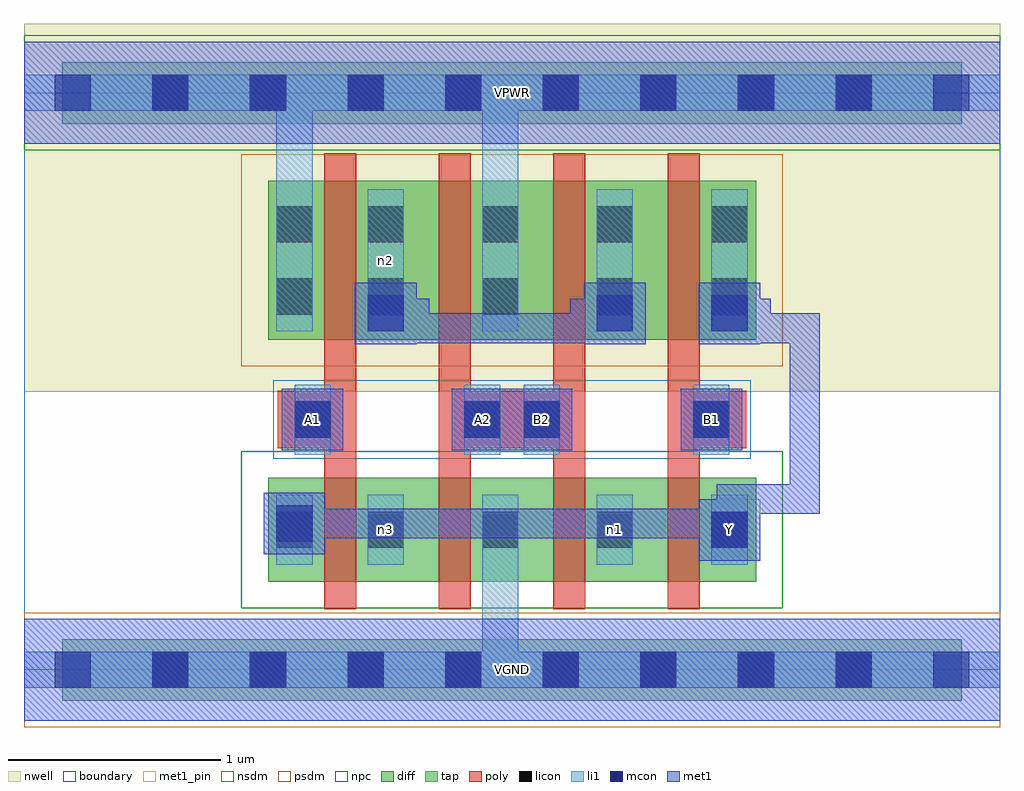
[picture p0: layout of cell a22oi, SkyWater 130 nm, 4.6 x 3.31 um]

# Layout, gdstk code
import gdstk
lib = gdstk.Library(unit=1e-6, precision=1e-09)
def R(c, l, rs):  # rectangles x0, y0, x1, y1
    for r in rs: c.add(gdstk.rectangle(r[:2], r[2:], *l))
def A(c, l, x, y, w, h, nx, ny, dx, dy):  # array of equal rectangles
    R(c, l, [(x+i*dx, y+j*dy, x+i*dx+w, y+j*dy+h) for i in range(nx) for j in range(ny)])
nwell = (64, 20)
diff = (65, 20)
tap = (65, 44)
poly = (66, 20)
licon = (66, 44)
li1 = (67, 20)
mcon = (67, 44)
met1_pin = (68, 16)
met1 = (68, 20)
nsdm = (93, 44)
psdm = (94, 20)
npc = (95, 20)
boundary = (235, 4)

a22oi = lib.new_cell('a22oi')
R(a22oi, nwell, [(0,1.31,4.6,3.045)])
R(a22oi, diff, [(1.15,0.415,3.45,0.905), (1.15,1.555,3.45,2.305)])
R(a22oi, tap, [(0.18,-0.145,4.42,0.145), (0.18,2.575,4.42,2.865)])
A(a22oi, poly, 1.415, 0.285, 0.15, 2.15, 4, 1, 0.54, 0)
R(a22oi, poly, [(1.195,1.045,1.525,1.315), (1.995,1.045,2.325,1.315), (2.275,1.045,2.605,1.315), (3.075,1.045,3.405,1.315)])
A(a22oi, licon, 0.605, -0.085, 0.17, 0.17, 8, 2, 0.46, 2.72)
A(a22oi, licon, 1.62, 0.575, 0.17, 0.17, 4, 2, 0.54, 1.1)
A(a22oi, licon, 1.62, 2.015, 0.17, 0.17, 4, 1, 0.54, 0)
R(a22oi, licon, [(1.19,0.575,1.36,0.745), (1.275,1.095,1.445,1.265), (2.075,1.095,2.245,1.265), (2.355,1.095,2.525,1.265), (3.155,1.095,3.325,1.265), (1.19,1.675,1.36,1.845), (1.19,2.015,1.36,2.185)])
A(a22oi, li1, 1.62, 0.495, 0.17, 0.33, 4, 1, 0.54, 0)
A(a22oi, li1, 1.62, 1.595, 0.17, 0.67, 4, 1, 0.54, 0)
R(a22oi, li1, [(0,-0.085,4.6,0.085), (2.16,-0.085,2.33,0.825), (1.19,0.495,1.36,0.825), (1.275,1.015,1.445,1.345), (2.075,1.015,2.245,1.345), (2.355,1.015,2.525,1.345), (3.155,1.015,3.325,1.345), (1.19,1.595,1.36,2.265), (1.19,1.595,1.36,2.805), (2.16,1.595,2.33,2.805), (0,2.635,4.6,2.805)])
A(a22oi, mcon, 0.145, -0.085, 0.17, 0.17, 10, 2, 0.46, 2.72)
R(a22oi, mcon, [(3.24,0.575,3.41,0.745), (1.19,0.605,1.36,0.775), (1.275,1.095,1.445,1.265), (2.075,1.095,2.245,1.265), (2.355,1.095,2.525,1.265), (3.155,1.095,3.325,1.265), (1.62,1.595,1.79,1.765), (2.7,1.595,2.87,1.765), (3.24,1.595,3.41,1.765)])
R(a22oi, met1_pin, [(0,-0.24,4.6,0.24), (3.18,0.515,3.47,0.805), (1.215,1.035,1.505,1.325), (2.015,1.035,2.305,1.325), (2.295,1.035,2.585,1.325), (3.095,1.035,3.385,1.325), (0,2.48,4.6,2.96)])
A(a22oi, met1, 1.77, 1.54, 0.14, 0.21, 3, 1, 0.805, 0)
R(a22oi, met1, [(0,-0.24,4.6,0.24), (3.18,0.515,3.47,0.805), (1.13,0.545,1.42,0.835), (1.205,0.62,1.45,0.76), (1.31,0.62,3.405,0.76), (3.265,0.62,3.405,0.76), (3.265,0.62,3.405,0.875), (3.265,0.735,3.75,0.875), (3.61,0.735,3.75,1.68), (1.215,1.035,1.505,1.325), (2.015,1.035,2.305,1.325), (2.295,1.035,2.585,1.325), (3.095,1.035,3.385,1.325), (1.56,1.535,1.85,1.825), (2.64,1.535,2.93,1.825), (3.18,1.535,3.47,1.825), (1.77,1.54,2.715,1.68), (3.38,1.54,3.75,1.68), (1.635,1.61,1.91,1.75), (2.575,1.61,2.855,1.75), (3.255,1.61,3.52,1.75), (0,2.48,4.6,2.96)])
R(a22oi, nsdm, [(1.025,0.29,3.575,1.03), (0,2.45,4.6,2.99)])
R(a22oi, psdm, [(0,-0.27,4.6,0.27), (1.025,1.43,3.575,2.43)])
R(a22oi, npc, [(1.175,0.995,3.425,1.365)])
R(a22oi, boundary, [(0,0,4.6,2.72)])
a22oi.add(gdstk.Label('n3', (1.705,0.66), layer=67, texttype=5))
a22oi.add(gdstk.Label('n1', (2.785,0.66), layer=67, texttype=5))
a22oi.add(gdstk.Label('n2', (1.705,1.93), layer=67, texttype=5))
a22oi.add(gdstk.Label('A1', (1.36,1.18), layer=68, texttype=5))
a22oi.add(gdstk.Label('A2', (2.16,1.18), layer=68, texttype=5))
a22oi.add(gdstk.Label('B1', (3.24,1.18), layer=68, texttype=5))
a22oi.add(gdstk.Label('B2', (2.44,1.18), layer=68, texttype=5))
a22oi.add(gdstk.Label('Y', (3.325,0.66), layer=68, texttype=5))
a22oi.add(gdstk.Label('VPWR', (2.3,2.72), layer=68, texttype=5))
a22oi.add(gdstk.Label('VGND', (2.3,0), layer=68, texttype=5))
a22oi.add(gdstk.Label('A1', (1.36,1.18), layer=68, texttype=16))
a22oi.add(gdstk.Label('A2', (2.16,1.18), layer=68, texttype=16))
a22oi.add(gdstk.Label('B1', (3.24,1.18), layer=68, texttype=16))
a22oi.add(gdstk.Label('B2', (2.44,1.18), layer=68, texttype=16))
a22oi.add(gdstk.Label('Y', (3.325,0.66), layer=68, texttype=16))
a22oi.add(gdstk.Label('VPWR', (2.3,2.72), layer=68, texttype=16))
a22oi.add(gdstk.Label('VGND', (2.3,0), layer=68, texttype=16))

lib.write_gds('a22oi.gds')
